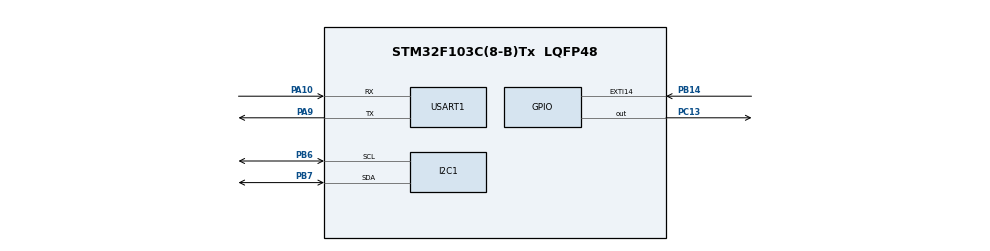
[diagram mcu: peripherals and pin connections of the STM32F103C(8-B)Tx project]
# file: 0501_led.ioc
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Dma.Request0=USART1_TX
Dma.Request1=USART1_RX
Dma.USART1_RX.1.Direction=DMA_PERIPH_TO_MEMORY
Dma.USART1_RX.1.Instance=DMA1_Channel5
Dma.USART1_RX.1.MemDataAlignment=DMA_MDATAALIGN_BYTE
Dma.USART1_RX.1.MemInc=DMA_MINC_ENABLE
Dma.USART1_RX.1.Mode=DMA_NORMAL
Dma.USART1_RX.1.PeriphDataAlignment=DMA_PDATAALIGN_BYTE
Dma.USART1_RX.1.PeriphInc=DMA_PINC_DISABLE
Dma.USART1_RX.1.Priority=DMA_PRIORITY_LOW
Dma.USART1_TX.0.Direction=DMA_MEMORY_TO_PERIPH
Dma.USART1_TX.0.Instance=DMA1_Channel4
Dma.USART1_TX.0.MemDataAlignment=DMA_MDATAALIGN_BYTE
Dma.USART1_TX.0.MemInc=DMA_MINC_ENABLE
Dma.USART1_TX.0.Mode=DMA_NORMAL
Dma.USART1_TX.0.PeriphDataAlignment=DMA_PDATAALIGN_BYTE
Dma.USART1_TX.0.PeriphInc=DMA_PINC_DISABLE
Dma.USART1_TX.0.Priority=DMA_PRIORITY_LOW
Mcu.Family=STM32F1
Mcu.Name=STM32F103C(8-B)Tx
Mcu.Package=LQFP48
NVIC.DMA1_Channel4_IRQn=true\:0\:0\:false\:false\:true\:false\:true\:true
NVIC.DMA1_Channel5_IRQn=true\:0\:0\:false\:false\:true\:false\:true\:true
NVIC.EXTI15_10_IRQn=true\:0\:0\:true\:false\:true\:true\:true\:true
NVIC.PriorityGroup=NVIC_PRIORITYGROUP_4
NVIC.USART1_IRQn=true\:0\:0\:false\:false\:true\:true\:true\:true
PA10.Mode=Asynchronous
PA10.Signal=USART1_RX
PA13.Mode=Serial_Wire
PA13.Signal=SYS_JTMS-SWDIO
PA14.Mode=Serial_Wire
PA14.Signal=SYS_JTCK-SWCLK
PA9.Mode=Asynchronous
PA9.Signal=USART1_TX
PB14.GPIO_ModeDefaultEXTI=GPIO_MODE_IT_RISING_FALLING
PB14.Signal=GPXTI14
PB6.Mode=I2C
PB6.Signal=I2C1_SCL
PB7.Mode=I2C
PB7.Signal=I2C1_SDA
PC13-TAMPER-RTC.Signal=GPIO_Output
ProjectManager.HeapSize=0x200
ProjectManager.StackSize=0x400
ProjectManager.TargetToolchain=MDK-ARM V5.32
RCC.APB1Freq_Value=8000000
RCC.APB2Freq_Value=8000000
USART1.VirtualMode=VM_ASYNC
board=custom

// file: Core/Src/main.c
/* USER CODE BEGIN Header */
/**
  ******************************************************************************
  * @file           : main.c
  * @brief          : Main program body
  ******************************************************************************
  * @attention
  *
  * Copyright (c) 2023 STMicroelectronics.
  * All rights reserved.
  *
  * This software is licensed under terms that can be found in the LICENSE file
  * in the root directory of this software component.
  * If no LICENSE file comes with this software, it is provided AS-IS.
  *
  ******************************************************************************
  */
/* USER CODE END Header */
#include "main.h"
#include "dma.h"
#include "i2c.h"
#include "usart.h"
#include "gpio.h"

/* USER CODE BEGIN Includes */
#include "driver_oled.h"
#include "circle_buffer.h"
#include <stdio.h>
/* USER CODE END Includes */

/* USER CODE BEGIN PTD */
struct soft_timer {
	uint32_t timeout;
	void * args;
	void (*func)(void *);
};
/* USER CODE END PTD */

/* USER CODE BEGIN PV */
extern UART_HandleTypeDef huart1;

int g_key_cnt = 0;

void key_timeout_func(void *args);

struct soft_timer key_timer = {~0, NULL, key_timeout_func};

static uint8_t g_data_buf[100];
static circle_buf g_key_bufs;

void Wait_Tx_Complete(void);
void Wait_Rx_Complete(void);
void StartUART1Recv(void);
int UART1GetChar(uint8_t *pVal);

void key_timeout_func(void *args)
{
	uint8_t key_val; /* 鎸変笅鏄?0x1, 鏉惧紑 0x81 */
	g_key_cnt++;
	key_timer.timeout = ~0;

	/* read gpio */
	if (HAL_GPIO_ReadPin(GPIOB, GPIO_PIN_14) == GPIO_PIN_RESET)
		key_val = 0x1;
	else
		key_val = 0x81;

	/* put key val into circle buf */
	circle_buf_write(&g_key_bufs, key_val);
}

void mod_timer(struct soft_timer *pTimer, uint32_t timeout)
{
	pTimer->timeout = HAL_GetTick() + timeout;
}

void check_timer(void)
{
	if (key_timer.timeout <= HAL_GetTick())
	{
		key_timer.func(key_timer.args);
	}
}

void HAL_GPIO_EXTI_Callback(uint16_t GPIO_Pin)
{
	if (GPIO_Pin == GPIO_PIN_14)
	{
		mod_timer(&key_timer, 10);
	}
}
/* USER CODE END PV */

void SystemClock_Config(void);

int main(void)
{

  /* MCU Configuration--------------------------------------------------------*/

  /* Reset of all peripherals, Initializes the Flash interface and the Systick. */
  HAL_Init();

  /* Configure the system clock */
  SystemClock_Config();

  /* USER CODE BEGIN SysInit */
  circle_buf_init(&g_key_bufs, 100, g_data_buf);
  /* USER CODE END SysInit */

  /* Initialize all configured peripherals */
  MX_GPIO_Init();
  MX_DMA_Init();
  MX_I2C1_Init();
  MX_USART1_UART_Init();

  /* Infinite loop */
  /* USER CODE BEGIN WHILE */

	/* use HAL_UART_Receive_IT鏉ヤ娇鑳絉XNE涓柇 */
	StartUART1Recv();

 // 在windows下字符串\n\r表示回车
  // 如果工程在编译下面这句中文的时候报错，请在魔术棒“Option for target”->"C/C++"->"Misc Controls"添加“--locale=english”

  /* USER CODE END 2 */

  /* Infinite loop */
  /* USER CODE BEGIN WHILE */
  int mymain(void);
  mymain();

  while (1)
  {
    /* USER CODE END WHILE */

  }
}

void SystemClock_Config(void)
{
  RCC_OscInitTypeDef RCC_OscInitStruct = {0};
  RCC_ClkInitTypeDef RCC_ClkInitStruct = {0};

  /** Initializes the RCC Oscillators according to the specified parameters
  * in the RCC_OscInitTypeDef structure.
  */
  RCC_OscInitStruct.OscillatorType = RCC_OSCILLATORTYPE_HSI;
  RCC_OscInitStruct.HSIState = RCC_HSI_ON;
  RCC_OscInitStruct.HSICalibrationValue = RCC_HSICALIBRATION_DEFAULT;
  RCC_OscInitStruct.PLL.PLLState = RCC_PLL_NONE;
  if (HAL_RCC_OscConfig(&RCC_OscInitStruct) != HAL_OK)
  {
    Error_Handler();
  }

  /** Initializes the CPU, AHB and APB buses clocks
  */
  RCC_ClkInitStruct.ClockType = RCC_CLOCKTYPE_HCLK|RCC_CLOCKTYPE_SYSCLK
                              |RCC_CLOCKTYPE_PCLK1|RCC_CLOCKTYPE_PCLK2;
  RCC_ClkInitStruct.SYSCLKSource = RCC_SYSCLKSOURCE_HSI;
  RCC_ClkInitStruct.AHBCLKDivider = RCC_SYSCLK_DIV1;
  RCC_ClkInitStruct.APB1CLKDivider = RCC_HCLK_DIV1;
  RCC_ClkInitStruct.APB2CLKDivider = RCC_HCLK_DIV1;

  if (HAL_RCC_ClockConfig(&RCC_ClkInitStruct, FLASH_LATENCY_0) != HAL_OK)
  {
    Error_Handler();
  }
}

void Error_Handler(void)
{
  __disable_irq();
  while (1)
  {
  }
}
